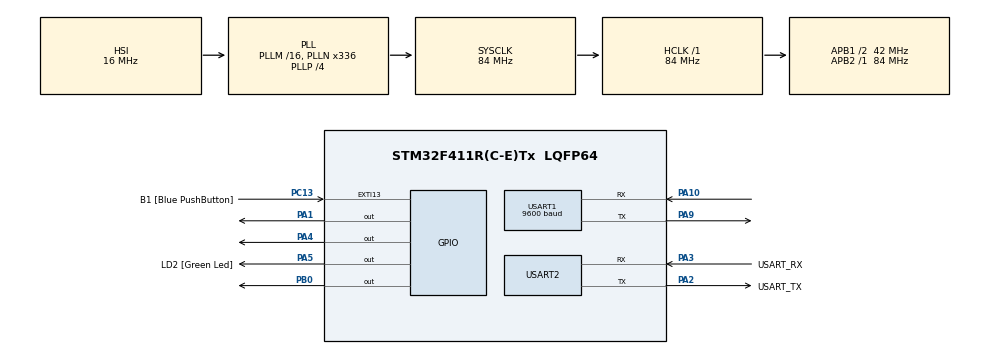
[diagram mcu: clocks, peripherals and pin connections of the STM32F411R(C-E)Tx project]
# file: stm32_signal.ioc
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Mcu.Family=STM32F4
Mcu.Name=STM32F411R(C-E)Tx
Mcu.Package=LQFP64
NVIC.PriorityGroup=NVIC_PRIORITYGROUP_0
PA1.Signal=GPIO_Output
PA10.Mode=Asynchronous
PA10.Signal=USART1_RX
PA13.GPIO_Label=TMS
PA13.Mode=Serial_Wire
PA13.Signal=SYS_JTMS-SWDIO
PA14.GPIO_Label=TCK
PA14.Mode=Serial_Wire
PA14.Signal=SYS_JTCK-SWCLK
PA2.GPIO_Label=USART_TX
PA2.Mode=Asynchronous
PA2.Signal=USART2_TX
PA3.GPIO_Label=USART_RX
PA3.Mode=Asynchronous
PA3.Signal=USART2_RX
PA4.Signal=GPIO_Output
PA5.GPIO_Label=LD2 [Green Led]
PA5.Signal=GPIO_Output
PA9.Mode=Asynchronous
PA9.Signal=USART1_TX
PB0.Signal=GPIO_Output
PB3.GPIO_Label=SWO
PB3.Signal=SYS_JTDO-SWO
PC13-ANTI_TAMP.GPIO_Label=B1 [Blue PushButton]
PC13-ANTI_TAMP.GPIO_ModeDefaultEXTI=GPIO_MODE_IT_FALLING
PC13-ANTI_TAMP.Signal=GPXTI13
PC14-OSC32_IN.Mode=LSE-External-Oscillator
PC14-OSC32_IN.Signal=RCC_OSC32_IN
PC15-OSC32_OUT.Mode=LSE-External-Oscillator
PC15-OSC32_OUT.Signal=RCC_OSC32_OUT
PH0\ -\ OSC_IN.Mode=HSE-External-Clock-Source
PH0\ -\ OSC_IN.Signal=RCC_OSC_IN
PH1\ -\ OSC_OUT.Mode=HSE-External-Clock-Source
PH1\ -\ OSC_OUT.Signal=RCC_OSC_OUT
ProjectManager.HeapSize=0x200
ProjectManager.StackSize=0x400
ProjectManager.TargetToolchain=CMake
RCC.48MHZClocksFreq_Value=84000000
RCC.AHBFreq_Value=84000000
RCC.APB1CLKDivider=RCC_HCLK_DIV2
RCC.APB1Freq_Value=42000000
RCC.APB1TimFreq_Value=84000000
RCC.APB2Freq_Value=84000000
RCC.APB2TimFreq_Value=84000000
RCC.CortexFreq_Value=84000000
RCC.FLatency-AdvancedSettings=FLASH_LATENCY_2
RCC.HCLKFreq_Value=84000000
RCC.HSE_VALUE=8000000
RCC.HSI_VALUE=16000000
RCC.PLLN=336
RCC.PLLP=RCC_PLLP_DIV4
RCC.SYSCLKFreq_VALUE=84000000
RCC.SYSCLKSource=RCC_SYSCLKSOURCE_PLLCLK
RCC.VCOOutputFreq_Value=336000000
USART1.BaudRate=9600
USART1.VirtualMode=VM_ASYNC
USART2.VirtualMode=VM_ASYNC
board=NUCLEO-F411RE

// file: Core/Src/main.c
/* USER CODE BEGIN Header */
/**
  ******************************************************************************
  * @file           : main.c
  * @brief          : Main program body
  ******************************************************************************
  * @attention
  *
  * Copyright (c) 2026 STMicroelectronics.
  * All rights reserved.
  *
  * This software is licensed under terms that can be found in the LICENSE file
  * in the root directory of this software component.
  * If no LICENSE file comes with this software, it is provided AS-IS.
  *
  ******************************************************************************
  */
/* USER CODE END Header */
#include "main.h"

/* USER CODE BEGIN Includes */
#include <string.h>
/* USER CODE END Includes */

UART_HandleTypeDef huart1;
UART_HandleTypeDef huart2;

/* USER CODE BEGIN PV */
static char command[32];
static uint8_t command_length;
static uint8_t command_overflow;
static uint32_t last_command_ms;
static uint32_t last_byte_ms;
/* 통신 장애 표시: 1초 켜짐 / 1초 꺼짐. 정상 빨강 신호와 구분한다. */
static uint32_t last_blink_ms;
static uint8_t fault_active;
static uint8_t fault_red_on;
/* USER CODE END PV */

void SystemClock_Config(void);
static void MX_GPIO_Init(void);
static void MX_USART2_UART_Init(void);
static void MX_USART1_UART_Init(void);

/* USER CODE BEGIN 0 */

/* LED는 출력 HIGH일 때 켜진다. 색을 바꿀 때 먼저 모두 꺼서 동시 점등을 막는다.
   빨강 PB0 / 노랑 PA1 / 초록 PA4. */
static void Signal_Set(GPIO_TypeDef *port, uint16_t pin)
{
  HAL_GPIO_WritePin(GPIOB, GPIO_PIN_0, GPIO_PIN_RESET);
  HAL_GPIO_WritePin(GPIOA, GPIO_PIN_1 | GPIO_PIN_4, GPIO_PIN_RESET);
  HAL_GPIO_WritePin(port, pin, GPIO_PIN_SET);
}

static void Signal_Reply(const char *reply)
{
  HAL_UART_Transmit(&huart1, (const uint8_t *)reply, (uint16_t)strlen(reply), 50);
}

static void Signal_Command(void)
{
  /* 개행까지 모은 문자열만 해석한다. 지원하지 않는 명령은 시간을 갱신하지 않는다. */
  command[command_length] = '\0';
  if (!command_overflow && strcmp(command, "SET,1,RED") == 0) {
    Signal_Set(GPIOB, GPIO_PIN_0);
    Signal_Reply("OK,1,RED\n");
  } else if (!command_overflow && strcmp(command, "SET,1,YELLOW") == 0) {
    Signal_Set(GPIOA, GPIO_PIN_1);
    Signal_Reply("OK,1,YELLOW\n");
  } else if (!command_overflow && strcmp(command, "SET,1,GREEN") == 0) {
    Signal_Set(GPIOA, GPIO_PIN_4);
    Signal_Reply("OK,1,GREEN\n");
  } else {
    Signal_Reply("ERROR,1,COMMAND\n");
    return;
  }
  last_command_ms = HAL_GetTick();
  fault_active = 0; /* 정상 명령 수신 즉시 점멸을 끝내고 지정 색을 유지한다. */
}

static void Signal_Poll(void)
{
  /* delay(1000)로 깜빡이면 그동안 명령을 못 받는다. 1ms UART 폴링과
     경과 시간 비교를 함께 사용해 점멸 중에도 정상 명령을 즉시 처리한다. */
  uint8_t byte;
  uint32_t now = HAL_GetTick();
  if ((command_length || command_overflow) && now - last_byte_ms >= 1000) {
    command_length = 0;
    command_overflow = 0;
  }
  HAL_StatusTypeDef result = HAL_UART_Receive(&huart1, &byte, 1, 1);
  if (result == HAL_OK) {
    last_byte_ms = HAL_GetTick();
    if (byte == '\n') {
      Signal_Command();
      command_length = 0;
      command_overflow = 0;
    } else if (byte != '\r') {
      if (command_length < sizeof(command) - 1) command[command_length++] = (char)byte;
      else command_overflow = 1;
    }
  } else if (result == HAL_ERROR) {
    command_length = 0;
    command_overflow = 1; /* 손상된 줄은 개행 또는 1초 경과까지 폐기한다. */
  }
  /* 부팅 후에도 5초 동안 명령이 없으면 장애 상태로 진입한다.
     unsigned 시간차를 사용하므로 HAL_GetTick()의 순환에도 동작한다. */
  now = HAL_GetTick();
  if (!fault_active && now - last_command_ms >= 5000) {
    Signal_Set(GPIOB, GPIO_PIN_0);
    fault_active = 1;
    fault_red_on = 1;
    last_blink_ms = now;
    Signal_Reply("STATE,1,RED,TIMEOUT\n");
  }
  if (fault_active && now - last_blink_ms >= 1000) {
    last_blink_ms = now;
    fault_red_on = !fault_red_on;
    HAL_GPIO_WritePin(GPIOB, GPIO_PIN_0,
                      fault_red_on ? GPIO_PIN_SET : GPIO_PIN_RESET);
  }
}

/* USER CODE END 0 */

int main(void)
{

  /* MCU Configuration--------------------------------------------------------*/

  /* Reset of all peripherals, Initializes the Flash interface and the Systick. */
  HAL_Init();

  /* Configure the system clock */
  SystemClock_Config();

  /* Initialize all configured peripherals */
  MX_GPIO_Init();
  MX_USART2_UART_Init();
  MX_USART1_UART_Init();
  /* USER CODE BEGIN 2 */
  Signal_Set(GPIOB, GPIO_PIN_0);
  /* USER CODE END 2 */

  /* Infinite loop */
  while (1)
  {

    /* USER CODE BEGIN 3 */
    Signal_Poll();
  }
  /* USER CODE END 3 */
}

void SystemClock_Config(void)
{
  RCC_OscInitTypeDef RCC_OscInitStruct = {0};
  RCC_ClkInitTypeDef RCC_ClkInitStruct = {0};

  /** Configure the main internal regulator output voltage
  */
  __HAL_RCC_PWR_CLK_ENABLE();
  __HAL_PWR_VOLTAGESCALING_CONFIG(PWR_REGULATOR_VOLTAGE_SCALE1);

  /** Initializes the RCC Oscillators according to the specified parameters
  * in the RCC_OscInitTypeDef structure.
  */
  RCC_OscInitStruct.OscillatorType = RCC_OSCILLATORTYPE_HSI;
  RCC_OscInitStruct.HSIState = RCC_HSI_ON;
  RCC_OscInitStruct.HSICalibrationValue = RCC_HSICALIBRATION_DEFAULT;
  RCC_OscInitStruct.PLL.PLLState = RCC_PLL_ON;
  RCC_OscInitStruct.PLL.PLLSource = RCC_PLLSOURCE_HSI;
  RCC_OscInitStruct.PLL.PLLM = 16;
  RCC_OscInitStruct.PLL.PLLN = 336;
  RCC_OscInitStruct.PLL.PLLP = RCC_PLLP_DIV4;
  RCC_OscInitStruct.PLL.PLLQ = 4;
  if (HAL_RCC_OscConfig(&RCC_OscInitStruct) != HAL_OK)
  {
    Error_Handler();
  }

  /** Initializes the CPU, AHB and APB buses clocks
  */
  RCC_ClkInitStruct.ClockType = RCC_CLOCKTYPE_HCLK|RCC_CLOCKTYPE_SYSCLK
                              |RCC_CLOCKTYPE_PCLK1|RCC_CLOCKTYPE_PCLK2;
  RCC_ClkInitStruct.SYSCLKSource = RCC_SYSCLKSOURCE_PLLCLK;
  RCC_ClkInitStruct.AHBCLKDivider = RCC_SYSCLK_DIV1;
  RCC_ClkInitStruct.APB1CLKDivider = RCC_HCLK_DIV2;
  RCC_ClkInitStruct.APB2CLKDivider = RCC_HCLK_DIV1;

  if (HAL_RCC_ClockConfig(&RCC_ClkInitStruct, FLASH_LATENCY_2) != HAL_OK)
  {
    Error_Handler();
  }
}

static void MX_USART1_UART_Init(void)
{

  huart1.Instance = USART1;
  huart1.Init.BaudRate = 9600;
  huart1.Init.WordLength = UART_WORDLENGTH_8B;
  huart1.Init.StopBits = UART_STOPBITS_1;
  huart1.Init.Parity = UART_PARITY_NONE;
  huart1.Init.Mode = UART_MODE_TX_RX;
  huart1.Init.HwFlowCtl = UART_HWCONTROL_NONE;
  huart1.Init.OverSampling = UART_OVERSAMPLING_16;
  if (HAL_UART_Init(&huart1) != HAL_OK)
  {
    Error_Handler();
  }

}

static void MX_USART2_UART_Init(void)
{

  huart2.Instance = USART2;
  huart2.Init.BaudRate = 115200;
  huart2.Init.WordLength = UART_WORDLENGTH_8B;
  huart2.Init.StopBits = UART_STOPBITS_1;
  huart2.Init.Parity = UART_PARITY_NONE;
  huart2.Init.Mode = UART_MODE_TX_RX;
  huart2.Init.HwFlowCtl = UART_HWCONTROL_NONE;
  huart2.Init.OverSampling = UART_OVERSAMPLING_16;
  if (HAL_UART_Init(&huart2) != HAL_OK)
  {
    Error_Handler();
  }

}

static void MX_GPIO_Init(void)
{
  GPIO_InitTypeDef GPIO_InitStruct = {0};

  /* GPIO Ports Clock Enable */
  __HAL_RCC_GPIOC_CLK_ENABLE();
  __HAL_RCC_GPIOH_CLK_ENABLE();
  __HAL_RCC_GPIOA_CLK_ENABLE();
  __HAL_RCC_GPIOB_CLK_ENABLE();

  /*Configure GPIO pin Output Level */
  HAL_GPIO_WritePin(GPIOA, GPIO_PIN_1|GPIO_PIN_4|LD2_Pin, GPIO_PIN_RESET);

  /*Configure GPIO pin Output Level */
  HAL_GPIO_WritePin(GPIOB, GPIO_PIN_0, GPIO_PIN_RESET);

  /*Configure GPIO pin : B1_Pin */
  GPIO_InitStruct.Pin = B1_Pin;
  GPIO_InitStruct.Mode = GPIO_MODE_IT_FALLING;
  GPIO_InitStruct.Pull = GPIO_NOPULL;
  HAL_GPIO_Init(B1_GPIO_Port, &GPIO_InitStruct);

  /*Configure GPIO pins : PA1 PA4 LD2_Pin */
  GPIO_InitStruct.Pin = GPIO_PIN_1|GPIO_PIN_4|LD2_Pin;
  GPIO_InitStruct.Mode = GPIO_MODE_OUTPUT_PP;
  GPIO_InitStruct.Pull = GPIO_NOPULL;
  GPIO_InitStruct.Speed = GPIO_SPEED_FREQ_LOW;
  HAL_GPIO_Init(GPIOA, &GPIO_InitStruct);

  /*Configure GPIO pin : PB0 */
  GPIO_InitStruct.Pin = GPIO_PIN_0;
  GPIO_InitStruct.Mode = GPIO_MODE_OUTPUT_PP;
  GPIO_InitStruct.Pull = GPIO_NOPULL;
  GPIO_InitStruct.Speed = GPIO_SPEED_FREQ_LOW;
  HAL_GPIO_Init(GPIOB, &GPIO_InitStruct);

}

void Error_Handler(void)
{
  __disable_irq();
  while (1)
  {
  }
}
